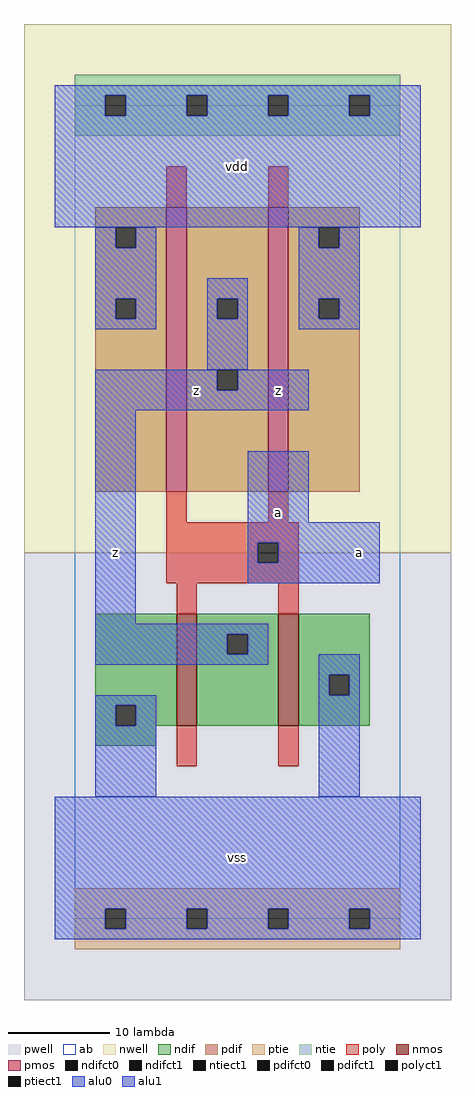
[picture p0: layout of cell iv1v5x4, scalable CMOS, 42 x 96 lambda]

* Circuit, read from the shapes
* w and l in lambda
.subckt iv1v5x4 a vdd vss z
M1 z a vss vss nfet w=11 l=2 m=2
M2 z a vdd vdd pfet w=28 l=2 m=2
.ends

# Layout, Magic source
magic
tech scmos
<< ab >>
rect 0 0 32 80
<< nwell >>
rect -5 36 37 88
<< pwell >>
rect -5 -8 37 36
<< poly >>
rect 9 70 11 74
rect 19 70 21 74
rect 9 39 11 42
rect 19 39 21 42
rect 9 37 22 39
rect 9 35 18 37
rect 20 35 22 37
rect 9 33 22 35
rect 10 30 12 33
rect 20 30 22 33
rect 10 15 12 19
rect 20 15 22 19
<< ndif >>
rect 2 21 10 30
rect 2 19 4 21
rect 6 19 10 21
rect 12 28 20 30
rect 12 26 15 28
rect 17 26 20 28
rect 12 19 20 26
rect 22 24 29 30
rect 22 22 25 24
rect 27 22 29 24
rect 22 19 29 22
rect 2 17 8 19
<< pdif >>
rect 2 68 9 70
rect 2 66 4 68
rect 6 66 9 68
rect 2 61 9 66
rect 2 59 4 61
rect 6 59 9 61
rect 2 42 9 59
rect 11 61 19 70
rect 11 59 14 61
rect 16 59 19 61
rect 11 54 19 59
rect 11 52 14 54
rect 16 52 19 54
rect 11 42 19 52
rect 21 68 28 70
rect 21 66 24 68
rect 26 66 28 68
rect 21 61 28 66
rect 21 59 24 61
rect 26 59 28 61
rect 21 42 28 59
<< alu1 >>
rect -2 81 34 82
rect -2 79 3 81
rect 5 79 11 81
rect 13 79 19 81
rect 21 79 27 81
rect 29 79 34 81
rect -2 68 34 79
rect 2 52 14 54
rect 16 52 23 54
rect 2 50 23 52
rect 2 29 6 50
rect 17 39 23 46
rect 17 37 30 39
rect 17 35 18 37
rect 20 35 30 37
rect 17 33 30 35
rect 2 28 19 29
rect 2 26 15 28
rect 17 26 19 28
rect 2 25 19 26
rect -2 1 34 12
rect -2 -1 3 1
rect 5 -1 11 1
rect 13 -1 19 1
rect 21 -1 27 1
rect 29 -1 34 1
rect -2 -2 34 -1
<< ptie >>
rect 0 1 32 3
rect 0 -1 3 1
rect 5 -1 11 1
rect 13 -1 19 1
rect 21 -1 27 1
rect 29 -1 32 1
rect 0 -3 32 -1
<< ntie >>
rect 0 81 32 83
rect 0 79 3 81
rect 5 79 11 81
rect 13 79 19 81
rect 21 79 27 81
rect 29 79 32 81
rect 0 77 32 79
<< nmos >>
rect 10 19 12 30
rect 20 19 22 30
<< pmos >>
rect 9 42 11 70
rect 19 42 21 70
<< polyct1 >>
rect 18 35 20 37
<< ndifct0 >>
rect 4 19 6 21
rect 25 22 27 24
<< ndifct1 >>
rect 15 26 17 28
<< ntiect1 >>
rect 3 79 5 81
rect 11 79 13 81
rect 19 79 21 81
rect 27 79 29 81
<< ptiect1 >>
rect 3 -1 5 1
rect 11 -1 13 1
rect 19 -1 21 1
rect 27 -1 29 1
<< pdifct0 >>
rect 4 66 6 68
rect 4 59 6 61
rect 14 59 16 61
rect 24 66 26 68
rect 24 59 26 61
<< pdifct1 >>
rect 14 52 16 54
<< alu0 >>
rect 2 66 4 68
rect 6 66 8 68
rect 2 61 8 66
rect 22 66 24 68
rect 26 66 28 68
rect 2 59 4 61
rect 6 59 8 61
rect 2 58 8 59
rect 13 61 17 63
rect 13 59 14 61
rect 16 59 17 61
rect 13 54 17 59
rect 22 61 28 66
rect 22 59 24 61
rect 26 59 28 61
rect 22 58 28 59
rect 24 24 28 26
rect 24 22 25 24
rect 27 22 28 24
rect 2 21 8 22
rect 2 19 4 21
rect 6 19 8 21
rect 2 12 8 19
rect 24 12 28 22
<< labels >>
rlabel alu1 4 36 4 36 6 z
rlabel alu1 12 52 12 52 6 z
rlabel alu1 16 6 16 6 6 vss
rlabel alu1 20 40 20 40 6 a
rlabel alu1 20 52 20 52 6 z
rlabel alu1 16 74 16 74 6 vdd
rlabel alu1 28 36 28 36 6 a
<< end >>
